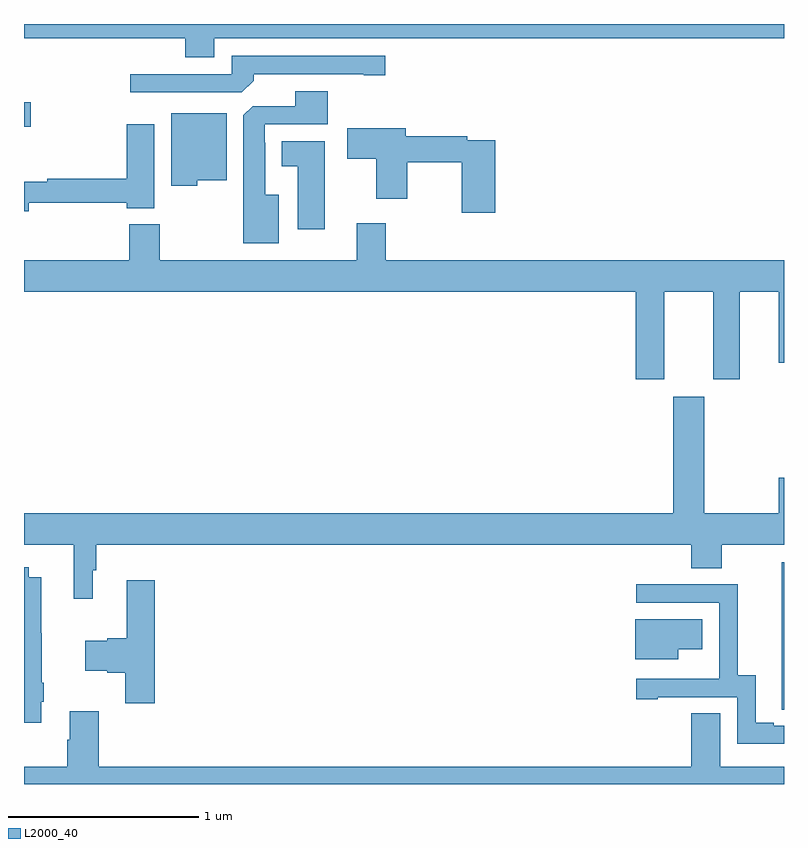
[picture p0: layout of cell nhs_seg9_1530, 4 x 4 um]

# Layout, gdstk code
import gdstk
lib = gdstk.Library(unit=1e-6, precision=1e-09)
def R(c, l, rs):  # rectangles x0, y0, x1, y1
    for r in rs: c.add(gdstk.rectangle(r[:2], r[2:], *l))
def P(c, l, *ps):  # polygons
    for p in ps: c.add(gdstk.Polygon(p, *l))
L2000_40 = (2000, 40)

nhs_seg9_1530 = lib.new_cell('nhs_seg9_1530')
R(nhs_seg9_1530, L2000_40, [(197,1191.959,197.035,1192.089)])
P(nhs_seg9_1530, L2000_40, [(198.001,1192.424),(201,1192.424),(201,1192.5),(197,1192.5),(197,1192.424),(197.849,1192.424),(197.849,1192.325),(198.001,1192.325)],
  [(198.209,1192.202),(198.209,1192.236),(198.788,1192.236),(198.788,1192.231),(198.901,1192.231),(198.901,1192.332),(198.093,1192.332),(198.093,1192.236),(197.559,1192.236),(197.559,1192.14),(198.147,1192.14)],
  [(198.34,1191.601),(198.271,1191.601),(198.271,1191.875),(198.267,1191.875),(198.267,1191.972),(198.598,1191.972),(198.598,1192.147),(198.428,1192.147),(198.428,1192.068),(198.204,1192.068),(198.155,1192.019),(198.155,1191.347),(198.34,1191.347)],
  [(197.913,1191.677),(198.067,1191.677),(198.067,1192.03),(197.774,1192.03),(197.774,1191.65),(197.913,1191.65)],
  [(197.026,1191.558),(197.54,1191.558),(197.54,1191.53),(197.686,1191.53),(197.686,1191.973),(197.54,1191.973),(197.54,1191.686),(197.122,1191.686),(197.122,1191.671),(197,1191.671),(197,1191.515),(197.026,1191.515)],
  [(199.481,1191.888),(199.334,1191.888),(199.334,1191.908),(199.009,1191.908),(199.009,1191.952),(198.702,1191.952),(198.702,1191.79),(198.854,1191.79),(198.854,1191.579),(199.017,1191.579),(199.017,1191.772),(199.303,1191.772),(199.303,1191.507),(199.481,1191.507)],
  [(198.583,1191.883),(198.356,1191.883),(198.356,1191.752),(198.44,1191.752),(198.44,1191.42),(198.583,1191.42)],
  [(198.905,1191.451),(198.752,1191.451),(198.752,1191.256),(197.715,1191.256),(197.715,1191.445),(197.555,1191.445),(197.555,1191.256),(197,1191.256),(197,1191.092),(200.219,1191.092),(200.219,1190.631),(200.371,1190.631),(200.371,1191.092),(200.627,1191.092),(200.627,1190.631),(200.767,1190.631),(200.767,1191.092),(200.972,1191.092),(200.972,1190.718),(201,1190.718),(201,1191.256),(198.905,1191.256)],
  [(197.362,1189.626),(197.381,1189.626),(197.381,1189.76),(200.513,1189.76),(200.513,1189.636),(200.673,1189.636),(200.673,1189.76),(201,1189.76),(201,1190.113),(200.972,1190.113),(200.972,1189.924),(200.581,1189.924),(200.581,1190.539),(200.417,1190.539),(200.417,1189.924),(197,1189.924),(197,1189.76),(197.263,1189.76),(197.263,1189.476),(197.362,1189.476)],
  [(201,1189.668),(200.987,1189.668),(200.987,1189),(200.988,1189),(200.988,1188.892),(201,1188.892)],
  [(197.092,1188.934),(197.104,1188.934),(197.104,1189.034),(197.094,1189.034),(197.094,1189.293),(197.092,1189.293),(197.092,1189.588),(197.026,1189.588),(197.026,1189.642),(197,1189.642),(197,1188.822),(197.092,1188.822)],
  [(197.687,1189.573),(197.54,1189.573),(197.54,1189.268),(197.439,1189.268),(197.439,1189.255),(197.322,1189.255),(197.322,1189.097),(197.439,1189.097),(197.439,1189.085),(197.533,1189.085),(197.533,1188.924),(197.687,1188.924)],
  [(201,1188.807),(200.947,1188.807),(200.947,1188.822),(200.851,1188.822),(200.851,1189.073),(200.757,1189.073),(200.757,1189.551),(200.223,1189.551),(200.223,1189.455),(200.658,1189.455),(200.658,1189.054),(200.657,1189.054),(200.657,1189.053),(200.223,1189.053),(200.223,1188.945),(200.335,1188.945),(200.335,1188.957),(200.754,1188.957),(200.754,1188.711),(201,1188.711)],
  [(200.443,1189.208),(200.569,1189.208),(200.569,1189.366),(200.216,1189.366),(200.216,1189.157),(200.443,1189.157)],
  [(201,1188.592),(200.665,1188.592),(200.665,1188.872),(200.513,1188.872),(200.513,1188.592),(197.393,1188.592),(197.393,1188.883),(197.24,1188.883),(197.24,1188.734),(197.228,1188.734),(197.228,1188.592),(197,1188.592),(197,1188.5),(201,1188.5)])

lib.write_gds('nhs_seg9_1530.gds')
